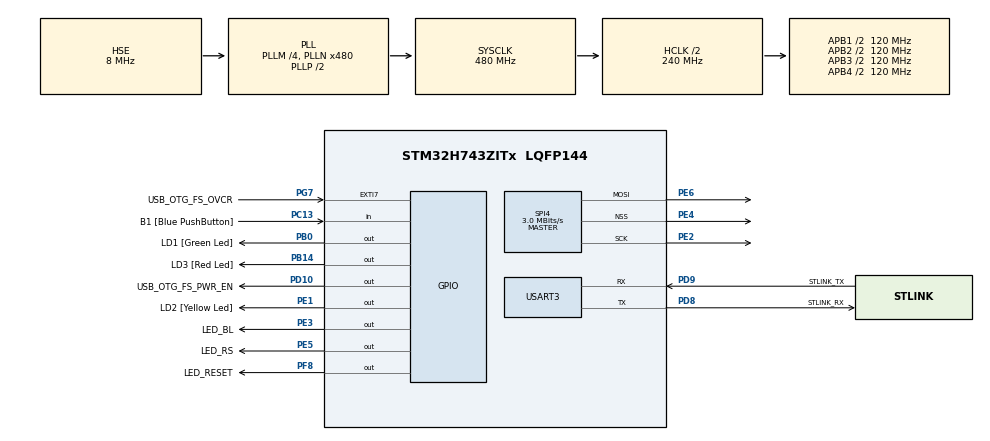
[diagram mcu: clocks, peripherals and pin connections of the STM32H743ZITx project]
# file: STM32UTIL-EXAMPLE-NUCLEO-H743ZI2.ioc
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CORTEX_M7.CPU_DCache=Enabled
CORTEX_M7.CPU_ICache=Enabled
CORTEX_M7.default_mode_Activation=1
Dma.Request0=USART3_TX
Dma.Request1=SPI4_TX
Dma.SPI4_TX.1.Direction=DMA_MEMORY_TO_PERIPH
Dma.SPI4_TX.1.EventEnable=DISABLE
Dma.SPI4_TX.1.FIFOMode=DMA_FIFOMODE_DISABLE
Dma.SPI4_TX.1.Instance=DMA1_Stream6
Dma.SPI4_TX.1.MemDataAlignment=DMA_MDATAALIGN_BYTE
Dma.SPI4_TX.1.MemInc=DMA_MINC_ENABLE
Dma.SPI4_TX.1.Mode=DMA_NORMAL
Dma.SPI4_TX.1.PeriphDataAlignment=DMA_PDATAALIGN_BYTE
Dma.SPI4_TX.1.PeriphInc=DMA_PINC_DISABLE
Dma.SPI4_TX.1.Polarity=HAL_DMAMUX_REQ_GEN_RISING
Dma.SPI4_TX.1.Priority=DMA_PRIORITY_LOW
Dma.SPI4_TX.1.RequestNumber=1
Dma.SPI4_TX.1.SignalID=NONE
Dma.SPI4_TX.1.SyncEnable=DISABLE
Dma.SPI4_TX.1.SyncPolarity=HAL_DMAMUX_SYNC_NO_EVENT
Dma.SPI4_TX.1.SyncRequestNumber=1
Dma.SPI4_TX.1.SyncSignalID=NONE
Dma.USART3_TX.0.Direction=DMA_MEMORY_TO_PERIPH
Dma.USART3_TX.0.EventEnable=DISABLE
Dma.USART3_TX.0.FIFOMode=DMA_FIFOMODE_DISABLE
Dma.USART3_TX.0.Instance=DMA1_Stream7
Dma.USART3_TX.0.MemDataAlignment=DMA_MDATAALIGN_BYTE
Dma.USART3_TX.0.MemInc=DMA_MINC_ENABLE
Dma.USART3_TX.0.Mode=DMA_NORMAL
Dma.USART3_TX.0.PeriphDataAlignment=DMA_PDATAALIGN_BYTE
Dma.USART3_TX.0.PeriphInc=DMA_PINC_DISABLE
Dma.USART3_TX.0.Polarity=HAL_DMAMUX_REQ_GEN_RISING
Dma.USART3_TX.0.Priority=DMA_PRIORITY_LOW
Dma.USART3_TX.0.RequestNumber=1
Dma.USART3_TX.0.SignalID=NONE
Dma.USART3_TX.0.SyncEnable=DISABLE
Dma.USART3_TX.0.SyncPolarity=HAL_DMAMUX_SYNC_NO_EVENT
Dma.USART3_TX.0.SyncRequestNumber=1
Dma.USART3_TX.0.SyncSignalID=NONE
FREERTOS.Tasks01=defaultTask,24,256,StartDefaultTask,Default,NULL,Dynamic,NULL,NULL
FREERTOS.configMINIMAL_STACK_SIZE=256
FREERTOS.configUSE_NEWLIB_REENTRANT=1
Mcu.Family=STM32H7
Mcu.Name=STM32H743ZITx
Mcu.Package=LQFP144
NVIC.DMA1_Stream6_IRQn=true\:5\:0\:true\:false\:true\:false\:false\:true\:true
NVIC.DMA1_Stream7_IRQn=true\:5\:0\:false\:false\:true\:true\:false\:true\:true
NVIC.PriorityGroup=NVIC_PRIORITYGROUP_4
NVIC.SPI4_IRQn=true\:5\:0\:false\:false\:true\:true\:false\:true\:true
NVIC.TIM7_IRQn=true\:15\:0\:false\:false\:true\:false\:false\:true\:true
NVIC.TimeBase=TIM7_IRQn
NVIC.TimeBaseIP=TIM7
NVIC.USART3_IRQn=true\:5\:0\:false\:false\:true\:true\:true\:true\:true
PA1.Signal=ETH_REF_CLK
PA11.Signal=USB_OTG_FS_DM
PA12.Signal=USB_OTG_FS_DP
PA13\ (JTMS/SWDIO).GPIO_Label=JTMS
PA13\ (JTMS/SWDIO).Signal=DEBUG_JTMS-SWDIO
PA14\ (JTCK/SWCLK).GPIO_Label=JTCK
PA14\ (JTCK/SWCLK).Signal=DEBUG_JTCK-SWCLK
PA2.Signal=ETH_MDIO
PA7.Signal=ETH_CRS_DV
PA8.Signal=USB_OTG_FS_SOF
PA9.Signal=USB_OTG_FS_VBUS
PB0.GPIO_Label=LD1 [Green Led]
PB0.Signal=GPIO_Output
PB13.Signal=ETH_TXD1
PB14.GPIO_Label=LD3 [Red Led]
PB14.Signal=GPIO_Output
PC1.Signal=ETH_MDC
PC13.GPIO_Label=B1 [Blue PushButton]
PC13.Signal=GPIO_Input
PC14-OSC32_IN\ (OSC32_IN).Mode=LSE-External-Oscillator
PC14-OSC32_IN\ (OSC32_IN).Signal=RCC_OSC32_IN
PC15-OSC32_OUT\ (OSC32_OUT).Mode=LSE-External-Oscillator
PC15-OSC32_OUT\ (OSC32_OUT).Signal=RCC_OSC32_OUT
PC4.Signal=ETH_RXD0
PC5.Signal=ETH_RXD1
PD10.GPIO_Label=USB_OTG_FS_PWR_EN
PD10.Signal=GPIO_Output
PD8.GPIO_Label=STLINK_RX
PD8.Mode=Asynchronous
PD8.Signal=USART3_TX
PD9.GPIO_Label=STLINK_TX
PD9.Mode=Asynchronous
PD9.Signal=USART3_RX
PE1.GPIO_Label=LD2 [Yellow Led]
PE1.Signal=GPIO_Output
PE2.Mode=TX_Only_Simplex_Unidirect_Master
PE2.Signal=SPI4_SCK
PE3.GPIO_Label=LED_BL
PE3.Signal=GPIO_Output
PE4.Mode=NSS_Signal_Hard_Output
PE4.Signal=SPI4_NSS
PE5.GPIO_Label=LED_RS
PE5.Signal=GPIO_Output
PE6.Mode=TX_Only_Simplex_Unidirect_Master
PE6.Signal=SPI4_MOSI
PF8.GPIO_Label=LED_RESET
PF8.Signal=GPIO_Output
PG11.Signal=ETH_TX_EN
PG13.Signal=ETH_TXD0
PG7.GPIO_Label=USB_OTG_FS_OVCR
PG7.Signal=GPXTI7
PH0-OSC_IN\ (PH0).Mode=HSE-External-Clock-Source
PH0-OSC_IN\ (PH0).Signal=RCC_OSC_IN
PH1-OSC_OUT\ (PH1).Signal=RCC_OSC_OUT
ProjectManager.HeapSize=0x200
ProjectManager.StackSize=0x400
ProjectManager.TargetToolchain=STM32CubeIDE
RCC.ADCFreq_Value=240000000
RCC.APB1Freq_Value=120000000
RCC.APB2Freq_Value=120000000
RCC.APB3Freq_Value=120000000
RCC.APB4Freq_Value=120000000
RCC.CortexFreq_Value=480000000
RCC.D1PPRE=RCC_APB3_DIV2
RCC.D2PPRE1=RCC_APB1_DIV2
RCC.D2PPRE2=RCC_APB2_DIV2
RCC.D3PPRE=RCC_APB4_DIV2
RCC.DIVM1=4
RCC.DIVM2=8
RCC.DIVM3=8
RCC.DIVN1=480
RCC.DIVN2=480
RCC.DIVN3=480
RCC.DIVQ2=5
RCC.DIVQ3=10
RCC.HCLKFreq_Value=240000000
RCC.HPRE=RCC_HCLK_DIV2
RCC.HSE_VALUE=8000000
RCC.PLLSourceVirtual=RCC_PLLSOURCE_HSE
RCC.SYSCLKFreq_VALUE=480000000
RCC.SYSCLKSource=RCC_SYSCLKSOURCE_PLLCLK
RCC.Spi45ClockSelection=RCC_SPI45CLKSOURCE_PLL2
RCC.USART234578CLockSelection=RCC_USART234578CLKSOURCE_PLL2
RCC.USBFreq_Value=480000000
SPI4.BaudRatePrescaler=SPI_BAUDRATEPRESCALER_32
SPI4.CalculateBaudRate=3.0 MBits/s
SPI4.DataSize=SPI_DATASIZE_8BIT
SPI4.Direction=SPI_DIRECTION_2LINES_TXONLY
SPI4.MasterInterDataIdleness=SPI_MASTER_INTERDATA_IDLENESS_00CYCLE
SPI4.MasterSSIdleness=SPI_MASTER_SS_IDLENESS_00CYCLE
SPI4.Mode=SPI_MODE_MASTER
SPI4.VirtualNSS=VM_NSSHARD
SPI4.VirtualType=VM_MASTER
USART3.VirtualMode-Asynchronous=VM_ASYNC
VP_FREERTOS_VS_CMSIS_V2.Mode=CMSIS_V2
VP_SYS_VS_tim7.Mode=TIM7
board=NUCLEO-H743ZI2

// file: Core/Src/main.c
/* USER CODE BEGIN Header */
/**
 ******************************************************************************
 * @file           : main.c
 * @brief          : Main program body
 ******************************************************************************
 * @attention
 *
 * Copyright (c) 2024 STMicroelectronics.
 * All rights reserved.
 *
 * This software is licensed under terms that can be found in the LICENSE file
 * in the root directory of this software component.
 * If no LICENSE file comes with this software, it is provided AS-IS.
 *
 ******************************************************************************
 */
/* USER CODE END Header */
#include "main.h"
#include "cmsis_os.h"
#include "dma.h"
#include "spi.h"
#include "usart.h"
#include "gpio.h"

/* USER CODE BEGIN Includes */
#include <stdio.h>
/* USER CODE END Includes */

void SystemClock_Config(void);
void PeriphCommonClock_Config(void);
static void MPU_Config(void);
void MX_FREERTOS_Init(void);

int main(void)
{

	/* MPU Configuration--------------------------------------------------------*/
	MPU_Config();

	/* Enable the CPU Cache */

	/* Enable I-Cache---------------------------------------------------------*/
	SCB_EnableICache();

	/* Enable D-Cache---------------------------------------------------------*/
	SCB_EnableDCache();

	/* MCU Configuration--------------------------------------------------------*/

	/* Reset of all peripherals, Initializes the Flash interface and the Systick. */
	HAL_Init();

	/* Configure the system clock */
	SystemClock_Config();

/* Configure the peripherals common clocks */
	PeriphCommonClock_Config();

	/* Initialize all configured peripherals */
	MX_GPIO_Init();
	MX_DMA_Init();
	MX_USART3_UART_Init();
	MX_SPI4_Init();

	/* Init scheduler */
	osKernelInitialize();

	/* Call init function for freertos objects (in cmsis_os2.c) */
	MX_FREERTOS_Init();

	/* Start scheduler */
	osKernelStart();

	/* We should never get here as control is now taken by the scheduler */

	/* Infinite loop */
	/* USER CODE BEGIN WHILE */
	int count = 0;
	while (1)
	{
		printf("%d: This is test.\r\n", count++);
		/* USER CODE END WHILE */

	}
}

void SystemClock_Config(void)
{
	RCC_OscInitTypeDef RCC_OscInitStruct = {0};
	RCC_ClkInitTypeDef RCC_ClkInitStruct = {0};

	/** Supply configuration update enable
	 */
	HAL_PWREx_ConfigSupply(PWR_LDO_SUPPLY);

	/** Configure the main internal regulator output voltage
	 */
	__HAL_PWR_VOLTAGESCALING_CONFIG(PWR_REGULATOR_VOLTAGE_SCALE1);

	while(!__HAL_PWR_GET_FLAG(PWR_FLAG_VOSRDY)) {}

	__HAL_RCC_SYSCFG_CLK_ENABLE();
	__HAL_PWR_VOLTAGESCALING_CONFIG(PWR_REGULATOR_VOLTAGE_SCALE0);

	while(!__HAL_PWR_GET_FLAG(PWR_FLAG_VOSRDY)) {}

	/** Initializes the RCC Oscillators according to the specified parameters
	 * in the RCC_OscInitTypeDef structure.
	 */
	RCC_OscInitStruct.OscillatorType = RCC_OSCILLATORTYPE_HSE;
	RCC_OscInitStruct.HSEState = RCC_HSE_BYPASS;
	RCC_OscInitStruct.PLL.PLLState = RCC_PLL_ON;
	RCC_OscInitStruct.PLL.PLLSource = RCC_PLLSOURCE_HSE;
	RCC_OscInitStruct.PLL.PLLM = 4;
	RCC_OscInitStruct.PLL.PLLN = 480;
	RCC_OscInitStruct.PLL.PLLP = 2;
	RCC_OscInitStruct.PLL.PLLQ = 2;
	RCC_OscInitStruct.PLL.PLLR = 2;
	RCC_OscInitStruct.PLL.PLLRGE = RCC_PLL1VCIRANGE_1;
	RCC_OscInitStruct.PLL.PLLVCOSEL = RCC_PLL1VCOWIDE;
	RCC_OscInitStruct.PLL.PLLFRACN = 0;
	if (HAL_RCC_OscConfig(&RCC_OscInitStruct) != HAL_OK)
	{
		Error_Handler();
	}

	/** Initializes the CPU, AHB and APB buses clocks
	 */
	RCC_ClkInitStruct.ClockType = RCC_CLOCKTYPE_HCLK|RCC_CLOCKTYPE_SYSCLK
	                              |RCC_CLOCKTYPE_PCLK1|RCC_CLOCKTYPE_PCLK2
	                              |RCC_CLOCKTYPE_D3PCLK1|RCC_CLOCKTYPE_D1PCLK1;
	RCC_ClkInitStruct.SYSCLKSource = RCC_SYSCLKSOURCE_PLLCLK;
	RCC_ClkInitStruct.SYSCLKDivider = RCC_SYSCLK_DIV1;
	RCC_ClkInitStruct.AHBCLKDivider = RCC_HCLK_DIV2;
	RCC_ClkInitStruct.APB3CLKDivider = RCC_APB3_DIV2;
	RCC_ClkInitStruct.APB1CLKDivider = RCC_APB1_DIV2;
	RCC_ClkInitStruct.APB2CLKDivider = RCC_APB2_DIV2;
	RCC_ClkInitStruct.APB4CLKDivider = RCC_APB4_DIV2;

	if (HAL_RCC_ClockConfig(&RCC_ClkInitStruct, FLASH_LATENCY_4) != HAL_OK)
	{
		Error_Handler();
	}
}

void PeriphCommonClock_Config(void)
{
	RCC_PeriphCLKInitTypeDef PeriphClkInitStruct = {0};

	/** Initializes the peripherals clock
	 */
	PeriphClkInitStruct.PeriphClockSelection = RCC_PERIPHCLK_SPI4|RCC_PERIPHCLK_USART3;
	PeriphClkInitStruct.PLL2.PLL2M = 8;
	PeriphClkInitStruct.PLL2.PLL2N = 480;
	PeriphClkInitStruct.PLL2.PLL2P = 2;
	PeriphClkInitStruct.PLL2.PLL2Q = 5;
	PeriphClkInitStruct.PLL2.PLL2R = 2;
	PeriphClkInitStruct.PLL2.PLL2RGE = RCC_PLL2VCIRANGE_0;
	PeriphClkInitStruct.PLL2.PLL2VCOSEL = RCC_PLL2VCOWIDE;
	PeriphClkInitStruct.PLL2.PLL2FRACN = 0;
	PeriphClkInitStruct.Spi45ClockSelection = RCC_SPI45CLKSOURCE_PLL2;
	PeriphClkInitStruct.Usart234578ClockSelection = RCC_USART234578CLKSOURCE_PLL2;
	if (HAL_RCCEx_PeriphCLKConfig(&PeriphClkInitStruct) != HAL_OK)
	{
		Error_Handler();
	}
}

/* MPU Configuration */

void MPU_Config(void)
{
	MPU_Region_InitTypeDef MPU_InitStruct = {0};

	/* Disables the MPU */
	HAL_MPU_Disable();

	/** Initializes and configures the Region and the memory to be protected
	 */
	MPU_InitStruct.Enable = MPU_REGION_ENABLE;
	MPU_InitStruct.Number = MPU_REGION_NUMBER0;
	MPU_InitStruct.BaseAddress = 0x0;
	MPU_InitStruct.Size = MPU_REGION_SIZE_4GB;
	MPU_InitStruct.SubRegionDisable = 0x87;
	MPU_InitStruct.TypeExtField = MPU_TEX_LEVEL0;
	MPU_InitStruct.AccessPermission = MPU_REGION_NO_ACCESS;
	MPU_InitStruct.DisableExec = MPU_INSTRUCTION_ACCESS_DISABLE;
	MPU_InitStruct.IsShareable = MPU_ACCESS_SHAREABLE;
	MPU_InitStruct.IsCacheable = MPU_ACCESS_NOT_CACHEABLE;
	MPU_InitStruct.IsBufferable = MPU_ACCESS_NOT_BUFFERABLE;

	HAL_MPU_ConfigRegion(&MPU_InitStruct);
	/* Enables the MPU */
	HAL_MPU_Enable(MPU_PRIVILEGED_DEFAULT);

}

void HAL_TIM_PeriodElapsedCallback(TIM_HandleTypeDef *htim)
{
	if (htim->Instance == TIM7) {
		HAL_IncTick();
	}
}

void Error_Handler(void)
{
	__disable_irq();
	while (1)
	{
	}
}

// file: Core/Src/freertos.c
/* USER CODE BEGIN Header */
/**
 ******************************************************************************
 * File Name          : freertos.c
 * Description        : Code for freertos applications
 ******************************************************************************
 * @attention
 *
 * Copyright (c) 2024 STMicroelectronics.
 * All rights reserved.
 *
 * This software is licensed under terms that can be found in the LICENSE file
 * in the root directory of this software component.
 * If no LICENSE file comes with this software, it is provided AS-IS.
 *
 ******************************************************************************
 */
/* USER CODE END Header */

#include "FreeRTOS.h"
#include "task.h"
#include "main.h"
#include "cmsis_os.h"

/* USER CODE BEGIN Includes */
#include "spi.h"
#include <stdio.h>
#include "stm32util-debug.h"
#include "stm32util-hcms.h"
/* USER CODE END Includes */

/* Definitions for defaultTask */
osThreadId_t defaultTaskHandle;
const osThreadAttr_t defaultTask_attributes = {
	.name = "defaultTask",
	.stack_size = 256 * 4,
	.priority = (osPriority_t) osPriorityNormal,
};

/* USER CODE BEGIN FunctionPrototypes */
osThreadId_t secondTaskHandle;
const osThreadAttr_t secondTask_attributes = {
	.name = "secondTask",
	.stack_size = 256 * 4,
	.priority = (osPriority_t) osPriorityNormal,
};
void secondDefaultTask(void *argument);

osThreadId_t hcmsTaskHandle;
const osThreadAttr_t hcmsTask_attributes = {
	.name = "hcmsTask",
	.stack_size = 256 * 4,
	.priority = (osPriority_t) osPriorityNormal,
};
void hcmsDefaultTask(void *argument);
/* USER CODE END FunctionPrototypes */

void StartDefaultTask(void *argument);

void MX_FREERTOS_Init(void); /* (MISRA C 2004 rule 8.1) */

void MX_FREERTOS_Init(void) {

	/* Create the thread(s) */
	/* creation of defaultTask */
	defaultTaskHandle = osThreadNew(StartDefaultTask, NULL, &defaultTask_attributes);

	/* USER CODE BEGIN RTOS_THREADS */
	/* add threads, ... */
	secondTaskHandle = osThreadNew(secondDefaultTask, NULL, &secondTask_attributes);
	hcmsTaskHandle = osThreadNew(hcmsDefaultTask, NULL, &hcmsTask_attributes);
	/* USER CODE END RTOS_THREADS */

}

void StartDefaultTask(void *argument)
{
	/* USER CODE BEGIN StartDefaultTask */
	/* Infinite loop */
	int count = 0;
	for(;;) {
		TRACE("%d: 1: This is test.\r\n", count++);
		osDelay(1);
	}
	/* USER CODE END StartDefaultTask */
}

/* USER CODE BEGIN Application */
void secondDefaultTask(void *argument)
{
	int count = 0;
	for(;;) {
		WARNING("%d: 2: This is test.\r\n", count++);
		osDelay(250);
		//ASSERT(count == 12345, "test");
	}
}

void hcmsDefaultTask(void *argument)
{
	/*
	                NVCI	NUCLEO	CN9
	        DATA	PE6	-	20
	        RS	PE5	-	18
	        CLK	PE2	-	14
	        CE	PE4	-	16
	        BL	PE3	-	22
	        RESET	PC13	PF8	24
	        VDD
	        GND
	 */
	int count = 0;

	stm32util_hcms_init();

	static char buffer[256];
	for (int i = 0; i < 256; ++i) {
		buffer[i] = i;
	}

	while (1) {
		stm32util_hcms_puts(buffer + count % (256-4));
		printf("3: %lu %d hcms\r\n", osKernelGetTickCount(), count);
		osDelay(250);
		HAL_GPIO_TogglePin(MX_GPIO(LD1));
		++count;
	}
}

/* USER CODE END Application */
